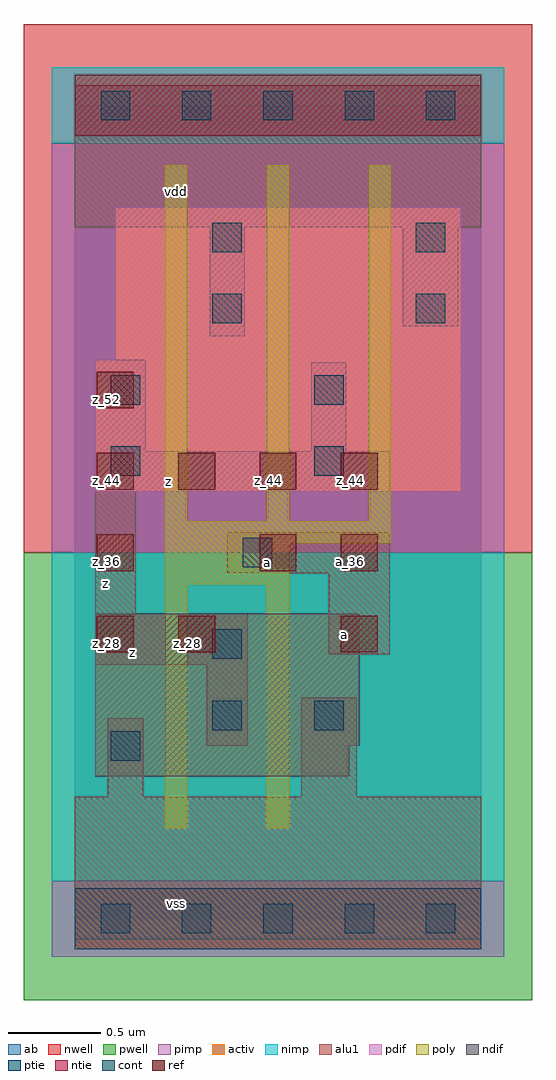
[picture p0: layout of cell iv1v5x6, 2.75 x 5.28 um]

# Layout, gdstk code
import gdstk
lib = gdstk.Library(unit=1e-6, precision=2.5e-09)
def R(c, l, rs):  # rectangles x0, y0, x1, y1
    for r in rs: c.add(gdstk.rectangle(r[:2], r[2:], *l))
def A(c, l, x, y, w, h, nx, ny, dx, dy):  # array of equal rectangles
    R(c, l, [(x+i*dx, y+j*dy, x+i*dx+w, y+j*dy+h) for i in range(nx) for j in range(ny)])
ndif = (3, 0)
pdif = (4, 0)
ntie = (5, 0)
ptie = (6, 0)
ref = (24, 0)
cont = (25, 0)
pwell = (41, 0)
nwell = (42, 0)
activ = (43, 0)
pimp = (44, 0)
nimp = (45, 0)
poly = (46, 0)
alu1 = (49, 0)
ab = (63, 0)

iv1v5x6 = lib.new_cell('iv1v5x6')
R(iv1v5x6, ndif, [(0.11,0.77,1.485,0.935), (0.11,0.935,1.54,1.65)])
R(iv1v5x6, pdif, [(0.11,2.31,2.09,3.025), (0.22,3.025,2.09,3.85)])
R(iv1v5x6, ntie, [(0,4.235,2.2,4.565)])
R(iv1v5x6, ptie, [(0,-0.165,2.2,0.165)])
A(iv1v5x6, ref, 0.12, 2.32, 0.2, 0.2, 4, 1, 0.44, 0)
R(iv1v5x6, ref, [(0.12,1.44,0.32,1.64), (0.56,1.44,0.76,1.64), (1.44,1.44,1.64,1.64), (0.12,1.88,0.32,2.08), (1,1.88,1.2,2.08), (1.44,1.88,1.64,2.08), (0.12,2.76,0.32,2.96)])
A(iv1v5x6, cont, 0.14, -0.08, 0.16, 0.16, 5, 2, 0.44, 4.4)
R(iv1v5x6, cont, [(0.195,0.855,0.355,1.015), (0.745,1.02,0.905,1.18), (1.295,1.02,1.455,1.18), (0.745,1.405,0.905,1.565), (0.91,1.9,1.07,2.06), (0.195,2.395,0.355,2.555), (1.295,2.395,1.455,2.555), (0.195,2.78,0.355,2.94), (1.295,2.78,1.455,2.94), (0.745,3.22,0.905,3.38), (1.845,3.22,2.005,3.38), (0.745,3.605,0.905,3.765), (1.845,3.605,2.005,3.765)])
R(iv1v5x6, pwell, [(-0.275,-0.44,2.475,1.98)])
R(iv1v5x6, nwell, [(-0.275,1.98,2.475,4.84)])
R(iv1v5x6, activ, [(0,-0.165,2.2,0.165), (0.11,0.77,1.485,0.935), (0.11,0.935,1.54,1.65), (0.11,2.31,2.09,3.025), (0.22,3.025,2.09,3.85), (0,4.235,2.2,4.565)])
R(iv1v5x6, pimp, [(-0.125,-0.205,2.325,0.205), (-0.125,1.98,2.325,4.195)])
R(iv1v5x6, nimp, [(-0.125,0.205,2.325,1.98), (-0.125,4.195,2.325,4.605)])
A(iv1v5x6, poly, 0.49, 2.15, 0.12, 1.925, 3, 1, 0.55, 0)
R(iv1v5x6, poly, [(0.49,0.49,0.61,1.81), (1.04,0.49,1.16,1.81), (0.49,1.81,1.16,2.03), (0.49,2.03,1.71,2.15)])
R(iv1v5x6, alu1, [(0,-0.11,2.2,0.66), (0.18,0.66,0.37,1.085), (1.225,0.66,1.525,1.195), (0.715,0.935,0.935,1.375), (0.11,1.375,0.935,1.65), (1.375,1.43,1.705,1.87), (0.11,1.65,0.33,2.31), (0.825,1.87,1.705,2.09), (0.11,2.31,1.705,2.53), (0.11,2.53,0.385,3.025), (1.28,2.53,1.47,3.01), (0.73,3.15,0.92,3.74), (1.775,3.205,2.075,3.74), (0,3.74,2.2,4.51)])
R(iv1v5x6, ab, [(0,0,2.2,4.4)])
iv1v5x6.add(gdstk.Label('vss', (0.55,0.0825), layer=49, texttype=0))
iv1v5x6.add(gdstk.Label('a', (1.4575,1.54), layer=49, texttype=0))
iv1v5x6.add(gdstk.Label('z', (0.315,1.4425), layer=49, texttype=0))
iv1v5x6.add(gdstk.Label('a', (1.045,1.925), layer=49, texttype=0))
iv1v5x6.add(gdstk.Label('z', (0.165,1.815), layer=49, texttype=0))
iv1v5x6.add(gdstk.Label('z', (0.5075,2.365), layer=49, texttype=0))
iv1v5x6.add(gdstk.Label('vdd', (0.55,3.9325), layer=49, texttype=0))
iv1v5x6.add(gdstk.Label('z_28', (0.61,1.49), layer=24, texttype=0))
iv1v5x6.add(gdstk.Label('z_44', (0.61,2.37), layer=24, texttype=0))
iv1v5x6.add(gdstk.Label('a_36', (1.05,1.93), layer=24, texttype=0))
iv1v5x6.add(gdstk.Label('z_44', (1.05,2.37), layer=24, texttype=0))
iv1v5x6.add(gdstk.Label('a_28', (1.49,1.49), layer=24, texttype=0))
iv1v5x6.add(gdstk.Label('a_36', (1.49,1.93), layer=24, texttype=0))
iv1v5x6.add(gdstk.Label('z_44', (1.49,2.37), layer=24, texttype=0))
iv1v5x6.add(gdstk.Label('z_28', (0.17,1.49), layer=24, texttype=0))
iv1v5x6.add(gdstk.Label('z_36', (0.17,1.93), layer=24, texttype=0))
iv1v5x6.add(gdstk.Label('z_44', (0.17,2.37), layer=24, texttype=0))
iv1v5x6.add(gdstk.Label('z_52', (0.17,2.81), layer=24, texttype=0))

lib.write_gds('iv1v5x6.gds')
